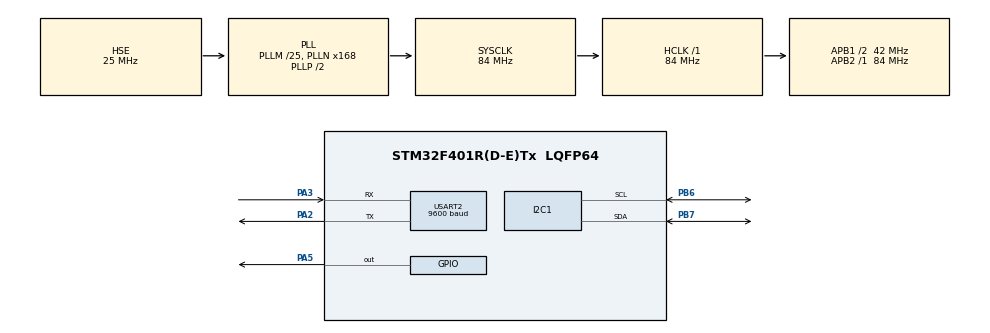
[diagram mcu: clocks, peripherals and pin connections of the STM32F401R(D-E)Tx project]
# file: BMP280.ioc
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Mcu.Family=STM32F4
Mcu.Name=STM32F401R(D-E)Tx
Mcu.Package=LQFP64
NVIC.PriorityGroup=NVIC_PRIORITYGROUP_4
NVIC.USART2_IRQn=true\:0\:0\:false\:false\:true\:true\:true\:true
PA2.Mode=Asynchronous
PA2.Signal=USART2_TX
PA3.Mode=Asynchronous
PA3.Signal=USART2_RX
PA5.Signal=GPIO_Output
PB6.Mode=I2C
PB6.Signal=I2C1_SCL
PB7.Mode=I2C
PB7.Signal=I2C1_SDA
PC14-OSC32_IN.Mode=LSE-External-Oscillator
PC14-OSC32_IN.Signal=RCC_OSC32_IN
PC15-OSC32_OUT.Mode=LSE-External-Oscillator
PC15-OSC32_OUT.Signal=RCC_OSC32_OUT
PH0\ -\ OSC_IN.Mode=HSE-External-Oscillator
PH0\ -\ OSC_IN.Signal=RCC_OSC_IN
PH1\ -\ OSC_OUT.Mode=HSE-External-Oscillator
PH1\ -\ OSC_OUT.Signal=RCC_OSC_OUT
ProjectManager.HeapSize=0x200
ProjectManager.StackSize=0x400
ProjectManager.TargetToolchain=STM32CubeIDE
RCC.48MHZClocksFreq_Value=42000000
RCC.AHBFreq_Value=84000000
RCC.APB1CLKDivider=RCC_HCLK_DIV2
RCC.APB1Freq_Value=42000000
RCC.APB1TimFreq_Value=84000000
RCC.APB2Freq_Value=84000000
RCC.APB2TimFreq_Value=84000000
RCC.CortexFreq_Value=84000000
RCC.HCLKFreq_Value=84000000
RCC.HSE_VALUE=25000000
RCC.HSI_VALUE=16000000
RCC.PLLM=25
RCC.PLLN=168
RCC.PLLSourceVirtual=RCC_PLLSOURCE_HSE
RCC.SYSCLKFreq_VALUE=84000000
RCC.SYSCLKSource=RCC_SYSCLKSOURCE_PLLCLK
RCC.VCOOutputFreq_Value=168000000
USART2.BaudRate=9600
USART2.VirtualMode=VM_ASYNC
board=custom

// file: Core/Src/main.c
/* USER CODE BEGIN Header */
/**
  ******************************************************************************
  * @file           : main.c
  * @brief          : Main program body
  ******************************************************************************
  * @attention
  *
  * Copyright (c) 2023 STMicroelectronics.
  * All rights reserved.
  *
  * This software is licensed under terms that can be found in the LICENSE file
  * in the root directory of this software component.
  * If no LICENSE file comes with this software, it is provided AS-IS.
  *
  ******************************************************************************
  */
/* USER CODE END Header */
#include <BMP180.h>
#include "main.h"

/* USER CODE BEGIN Includes */
#include <string.h>
#include <stdint.h>
#include <stdbool.h>
#include <stdlib.h>
#include "stm32f4xx_hal.h"

/* USER CODE END Includes */

I2C_HandleTypeDef hi2c1;

UART_HandleTypeDef huart2;

/* USER CODE BEGIN PV */
BMP280_HandleTypedef bmp280;

float pressure, temperature, humidity;

uint16_t size;
uint8_t Data[256];

/* USER CODE END PV */

void SystemClock_Config(void);
static void MX_GPIO_Init(void);
static void MX_I2C1_Init(void);
static void MX_USART2_UART_Init(void);

int main(void)
{

  /* MCU Configuration--------------------------------------------------------*/

  /* Reset of all peripherals, Initializes the Flash interface and the Systick. */
  HAL_Init();

  /* Configure the system clock */
  SystemClock_Config();

  /* Initialize all configured peripherals */
  MX_GPIO_Init();
  MX_I2C1_Init();
  MX_USART2_UART_Init();
  /* USER CODE BEGIN 2 */
  bmp280_init_default_params(&bmp280.params);
  	bmp280.addr = BMP280_I2C_ADDRESS_0;
  	bmp280.i2c = &hi2c1;
  	Punto();

  	while (!bmp280_init(&bmp280, &bmp280.params)) {
  		size = sprintf((char *)Data, "BMP280 initialization failed\n");
  		HAL_UART_Transmit(&huart2,(char *)Data, strlen(Data), HAL_MAX_DELAY);
  		HAL_Delay(2000);

  	}
  	bool bme280p = bmp280.id == BME280_CHIP_ID;
  	size = sprintf((char *)Data, "BMP280: found %s\n", bme280p ? "BME280" : "BMP280");
  	HAL_UART_Transmit(&huart2, Data, size, 1000);
  /* USER CODE END 2 */

  /* Infinite loop */
  while (1)
  {

  }
}

void SystemClock_Config(void)
{
  RCC_OscInitTypeDef RCC_OscInitStruct = {0};
  RCC_ClkInitTypeDef RCC_ClkInitStruct = {0};

  /** Configure the main internal regulator output voltage
  */
  __HAL_RCC_PWR_CLK_ENABLE();
  __HAL_PWR_VOLTAGESCALING_CONFIG(PWR_REGULATOR_VOLTAGE_SCALE2);

  /** Initializes the RCC Oscillators according to the specified parameters
  * in the RCC_OscInitTypeDef structure.
  */
  RCC_OscInitStruct.OscillatorType = RCC_OSCILLATORTYPE_HSE;
  RCC_OscInitStruct.HSEState = RCC_HSE_ON;
  RCC_OscInitStruct.PLL.PLLState = RCC_PLL_ON;
  RCC_OscInitStruct.PLL.PLLSource = RCC_PLLSOURCE_HSE;
  RCC_OscInitStruct.PLL.PLLM = 25;
  RCC_OscInitStruct.PLL.PLLN = 168;
  RCC_OscInitStruct.PLL.PLLP = RCC_PLLP_DIV2;
  RCC_OscInitStruct.PLL.PLLQ = 4;
  if (HAL_RCC_OscConfig(&RCC_OscInitStruct) != HAL_OK)
  {
    Error_Handler();
  }

  /** Initializes the CPU, AHB and APB buses clocks
  */
  RCC_ClkInitStruct.ClockType = RCC_CLOCKTYPE_HCLK|RCC_CLOCKTYPE_SYSCLK
                              |RCC_CLOCKTYPE_PCLK1|RCC_CLOCKTYPE_PCLK2;
  RCC_ClkInitStruct.SYSCLKSource = RCC_SYSCLKSOURCE_PLLCLK;
  RCC_ClkInitStruct.AHBCLKDivider = RCC_SYSCLK_DIV1;
  RCC_ClkInitStruct.APB1CLKDivider = RCC_HCLK_DIV2;
  RCC_ClkInitStruct.APB2CLKDivider = RCC_HCLK_DIV1;

  if (HAL_RCC_ClockConfig(&RCC_ClkInitStruct, FLASH_LATENCY_2) != HAL_OK)
  {
    Error_Handler();
  }
}

static void MX_I2C1_Init(void)
{

  hi2c1.Instance = I2C1;
  hi2c1.Init.ClockSpeed = 100000;
  hi2c1.Init.DutyCycle = I2C_DUTYCYCLE_2;
  hi2c1.Init.OwnAddress1 = 0;
  hi2c1.Init.AddressingMode = I2C_ADDRESSINGMODE_7BIT;
  hi2c1.Init.DualAddressMode = I2C_DUALADDRESS_DISABLE;
  hi2c1.Init.OwnAddress2 = 0;
  hi2c1.Init.GeneralCallMode = I2C_GENERALCALL_DISABLE;
  hi2c1.Init.NoStretchMode = I2C_NOSTRETCH_DISABLE;
  if (HAL_I2C_Init(&hi2c1) != HAL_OK)
  {
    Error_Handler();
  }

}

static void MX_USART2_UART_Init(void)
{

  huart2.Instance = USART2;
  huart2.Init.BaudRate = 9600;
  huart2.Init.WordLength = UART_WORDLENGTH_8B;
  huart2.Init.StopBits = UART_STOPBITS_1;
  huart2.Init.Parity = UART_PARITY_NONE;
  huart2.Init.Mode = UART_MODE_TX_RX;
  huart2.Init.HwFlowCtl = UART_HWCONTROL_NONE;
  huart2.Init.OverSampling = UART_OVERSAMPLING_16;
  if (HAL_UART_Init(&huart2) != HAL_OK)
  {
    Error_Handler();
  }

}

static void MX_GPIO_Init(void)
{
  GPIO_InitTypeDef GPIO_InitStruct = {0};

  /* GPIO Ports Clock Enable */
  __HAL_RCC_GPIOC_CLK_ENABLE();
  __HAL_RCC_GPIOH_CLK_ENABLE();
  __HAL_RCC_GPIOA_CLK_ENABLE();
  __HAL_RCC_GPIOB_CLK_ENABLE();

  /*Configure GPIO pin Output Level */
  HAL_GPIO_WritePin(GPIOA, GPIO_PIN_5, GPIO_PIN_RESET);

  /*Configure GPIO pin : PA5 */
  GPIO_InitStruct.Pin = GPIO_PIN_5;
  GPIO_InitStruct.Mode = GPIO_MODE_OUTPUT_PP;
  GPIO_InitStruct.Pull = GPIO_NOPULL;
  GPIO_InitStruct.Speed = GPIO_SPEED_FREQ_LOW;
  HAL_GPIO_Init(GPIOA, &GPIO_InitStruct);

}

/* USER CODE BEGIN 4 */
void Punto(void){
while (1){
  		HAL_GPIO_TogglePin(GPIOA, GPIO_PIN_5);
  		HAL_Delay(100);
  		char a[]={"Punto seteao \r\n"};
  		HAL_UART_Transmit(&huart2,(uint8_t *)a, strlen(a), HAL_MAX_DELAY);
  	}
}
/* USER CODE END 4 */

void Error_Handler(void)
{
  __disable_irq();
  while (1)
  {
  }
}
